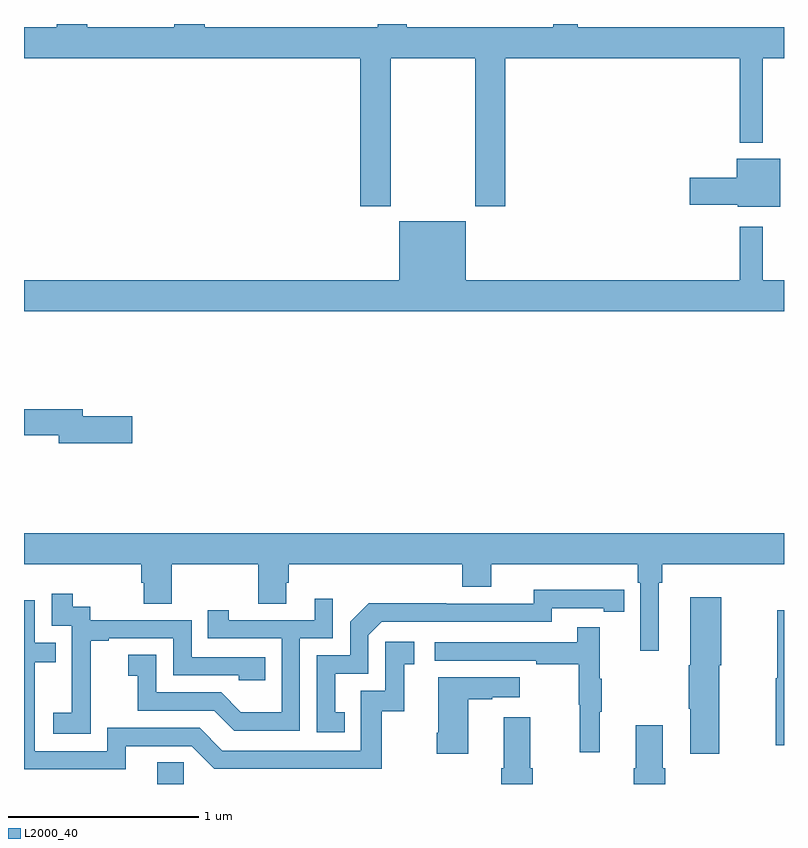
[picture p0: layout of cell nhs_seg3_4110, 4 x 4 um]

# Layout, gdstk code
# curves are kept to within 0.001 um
import gdstk
lib = gdstk.Library(unit=1e-6, precision=1e-09)
def R(c, l, rs):  # rectangles x0, y0, x1, y1
    for r in rs: c.add(gdstk.rectangle(r[:2], r[2:], *l))
def P(c, l, *ps):  # polygons
    for p in ps: c.add(gdstk.Polygon(p, *l))
L2000_40 = (2000, 40)

nhs_seg3_4110 = lib.new_cell('nhs_seg3_4110')
R(nhs_seg3_4110, L2000_40, [(327.701,726.4,327.84,726.515)])
P(nhs_seg3_4110, L2000_40, [(329.374,729.441),(329.534,729.441),(329.534,730.22),(330.768,730.22),(330.768,729.776),(330.889,729.776),(330.889,730.22),(331,730.22),(331,730.384),(329.915,730.384),(329.915,730.4),(329.786,730.4),(329.786,730.384),(329.014,730.384),(329.014,730.4),(328.862,730.4),(328.862,730.384),(327.95,730.384),(327.95,730.4),(327.79,730.4),(327.79,730.384),(327.333,730.384),(327.333,730.4),(327.173,730.4),(327.173,730.384),(327,730.384),(327,730.22),(328.769,730.22),(328.769,729.441),(328.929,729.441),(328.929,730.22),(329.374,730.22)],
  [(330.979,729.691),(330.752,729.691),(330.752,729.59),(330.504,729.59),(330.504,729.448),(330.756,729.448),(330.756,729.437),(330.979,729.437)],
  [(331,729.052),(330.889,729.052),(330.889,729.334),(330.768,729.334),(330.768,729.052),(329.326,729.052),(329.326,729.361),(328.976,729.361),(328.976,729.052),(327,729.052),(327,728.888),(331,728.888)],
  [(327.571,728.336),(327.31,728.336),(327.31,728.372),(327,728.372),(327,728.236),(327.182,728.236),(327.182,728.194),(327.571,728.194)],
  [(327,727.556),(327.617,727.556),(327.617,727.458),(327.629,727.458),(327.629,727.348),(327.777,727.348),(327.777,727.556),(328.234,727.556),(328.234,727.348),(328.381,727.348),(328.381,727.458),(328.394,727.458),(328.394,727.556),(329.306,727.556),(329.306,727.439),(329.458,727.439),(329.458,727.556),(330.23,727.556),(330.23,727.46),(330.243,727.46),(330.243,727.101),(330.34,727.101),(330.34,727.46),(330.359,727.46),(330.359,727.556),(331,727.556),(331,727.72),(327,727.72)],
  [(328.688,726.777),(328.639,726.777),(328.639,726.981),(328.812,726.981),(328.812,727.182),(328.884,727.254),(329.778,727.254),(329.778,727.326),(330.05,727.326),(330.05,727.306),(330.158,727.306),(330.158,727.422),(329.682,727.423),(329.682,727.35),(329.222,727.35),(329.222,727.352),(328.814,727.352),(328.716,727.254),(328.716,727.077),(328.542,727.077),(328.542,726.672),(328.688,726.672)],
  [(327.351,726.871),(327.35,726.871),(327.35,727.155),(327.445,727.155),(327.445,727.167),(327.786,727.167),(327.786,726.972),(328.131,726.972),(328.131,726.945),(328.271,726.945),(328.271,727.068),(327.882,727.068),(327.882,727.263),(327.348,727.263),(327.348,727.332),(327.256,727.332),(327.256,727.402),(327.147,727.402),(327.147,727.233),(327.252,727.233),(327.252,727.004),(327.251,727.004),(327.251,726.775),(327.153,726.775),(327.153,726.665),(327.351,726.665)],
  [(330.66,727.026),(330.67,727.026),(330.67,727.384),(330.506,727.384),(330.506,727.026),(330.499,727.026),(330.499,726.796),(330.506,726.796),(330.506,726.558),(330.66,726.558)],
  [(328.452,727.167),(328.626,727.167),(328.626,727.375),(328.529,727.375),(328.529,727.263),(328.078,727.263),(328.078,727.315),(327.967,727.315),(327.967,727.167),(328.356,727.167),(328.356,726.778),(328.142,726.778),(328.038,726.882),(327.696,726.882),(327.696,727.081),(327.549,727.081),(327.549,726.971),(327.598,726.971),(327.598,726.786),(328.001,726.786),(328.106,726.681),(328.452,726.681)],
  [(327.535,726.6),(327.882,726.6),(328.002,726.48),(328.882,726.48),(328.882,726.783),(329,726.783),(329,727.029),(329.053,727.029),(329.053,727.15),(328.902,727.15),(328.902,726.891),(328.773,726.891),(328.773,726.576),(328.044,726.576),(327.924,726.696),(327.438,726.696),(327.438,726.573),(327.057,726.573),(327.057,727.042),(327.167,727.042),(327.167,727.143),(327.057,727.143),(327.057,727.368),(327,727.368),(327,726.477),(327.535,726.477)],
  [(331,727.315),(330.964,727.315),(330.964,726.956),(330.957,726.956),(330.957,726.605),(331,726.605)],
  [(330.029,726.779),(330.04,726.779),(330.04,726.953),(330.029,726.953),(330.029,727.225),(329.911,727.225),(329.911,727.146),(329.163,727.146),(329.163,727.05),(329.695,727.05),(329.695,727.03),(329.919,727.03),(329.919,726.816),(329.926,726.816),(329.926,726.567),(330.029,726.567)],
  [(329.338,726.847),(329.465,726.847),(329.465,726.857),(329.608,726.857),(329.608,726.961),(329.18,726.961),(329.18,726.67),(329.173,726.67),(329.173,726.558),(329.338,726.558)],
  [(329.678,726.484),(329.665,726.484),(329.665,726.751),(329.525,726.751),(329.525,726.484),(329.513,726.484),(329.513,726.4),(329.678,726.4)],
  [(330.374,726.484),(330.361,726.484),(330.361,726.709),(330.221,726.709),(330.221,726.484),(330.209,726.484),(330.209,726.4),(330.374,726.4)])

lib.write_gds('nhs_seg3_4110.gds')
